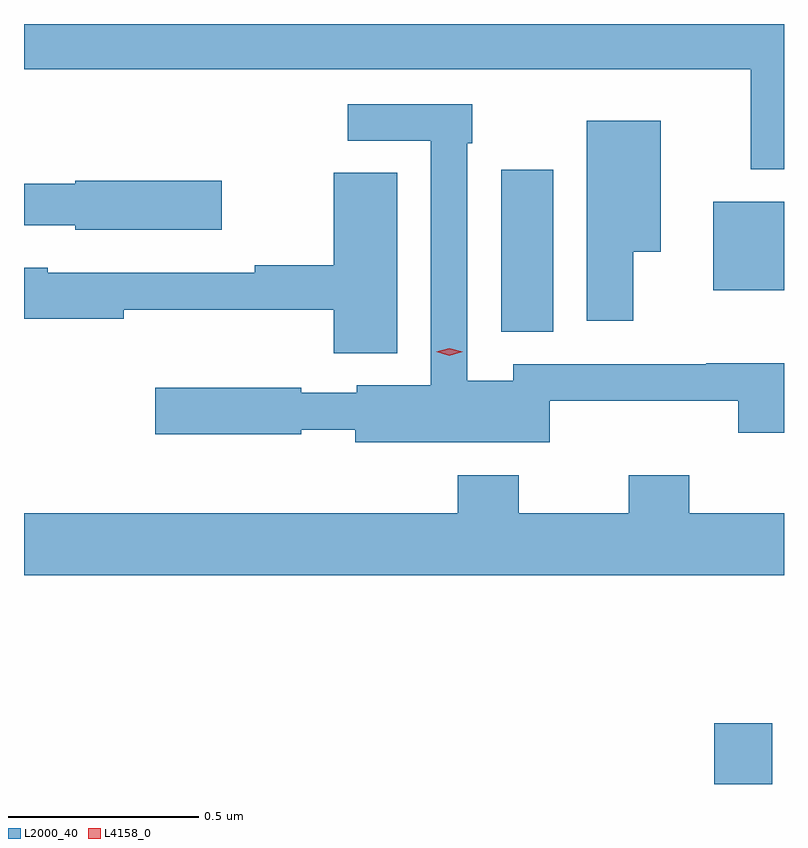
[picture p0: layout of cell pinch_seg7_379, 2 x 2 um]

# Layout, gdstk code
import gdstk
lib = gdstk.Library(unit=1e-6, precision=1e-09)
def R(c, l, rs):  # rectangles x0, y0, x1, y1
    for r in rs: c.add(gdstk.rectangle(r[:2], r[2:], *l))
def P(c, l, *ps):  # polygons
    for p in ps: c.add(gdstk.Polygon(p, *l))
L2000_40 = (2000, 40)
L4158_0 = (4158, 0)

pinch_seg7_379 = lib.new_cell('pinch_seg7_379')
R(pinch_seg7_379, L2000_40, [(493.814,1002.731,493.966,1002.891), (493.253,1003.921,493.39,1004.347), (493.811,1004.03,493.997,1004.263)])
P(pinch_seg7_379, L2000_40, [(491.997,1004.612),(493.909,1004.612),(493.909,1004.349),(493.997,1004.349),(493.997,1004.731),(491.997,1004.731)],
  [(493.38,1003.739),(493.877,1003.739),(493.877,1003.656),(493.997,1003.656),(493.997,1003.838),(493.793,1003.838),(493.793,1003.836),(493.284,1003.836),(493.284,1003.792),(493.164,1003.792),(493.164,1004.417),(493.177,1004.417),(493.177,1004.52),(492.849,1004.52),(492.849,1004.424),(493.068,1004.424),(493.068,1003.78),(492.873,1003.78),(492.873,1003.761),(492.726,1003.761),(492.726,1003.774),(492.342,1003.774),(492.342,1003.652),(492.726,1003.652),(492.726,1003.663),(492.869,1003.663),(492.869,1003.631),(493.38,1003.631)],
  [(493.6,1004.132),(493.672,1004.132),(493.672,1004.476),(493.478,1004.476),(493.478,1003.95),(493.6,1003.95)],
  [(492.979,1004.339),(492.812,1004.339),(492.812,1004.096),(492.604,1004.096),(492.604,1004.076),(492.06,1004.076),(492.06,1004.089),(491.997,1004.089),(491.997,1003.955),(492.26,1003.955),(492.26,1003.979),(492.812,1003.979),(492.812,1003.865),(492.979,1003.865)],
  [(492.517,1004.319),(492.132,1004.319),(492.132,1004.311),(491.997,1004.311),(491.997,1004.202),(492.132,1004.202),(492.132,1004.189),(492.517,1004.189)],
  [(493.997,1003.444),(493.748,1003.444),(493.748,1003.543),(493.588,1003.543),(493.588,1003.444),(493.299,1003.444),(493.299,1003.543),(493.139,1003.543),(493.139,1003.444),(491.997,1003.444),(491.997,1003.28),(493.997,1003.28)])
P(pinch_seg7_379, L4158_0, [(493.116,1003.858),(493.082,1003.868),(493.081,1003.868),(493.082,1003.868),(493.116,1003.878),(493.151,1003.868),(493.151,1003.868),(493.151,1003.868)])

lib.write_gds('pinch_seg7_379.gds')
